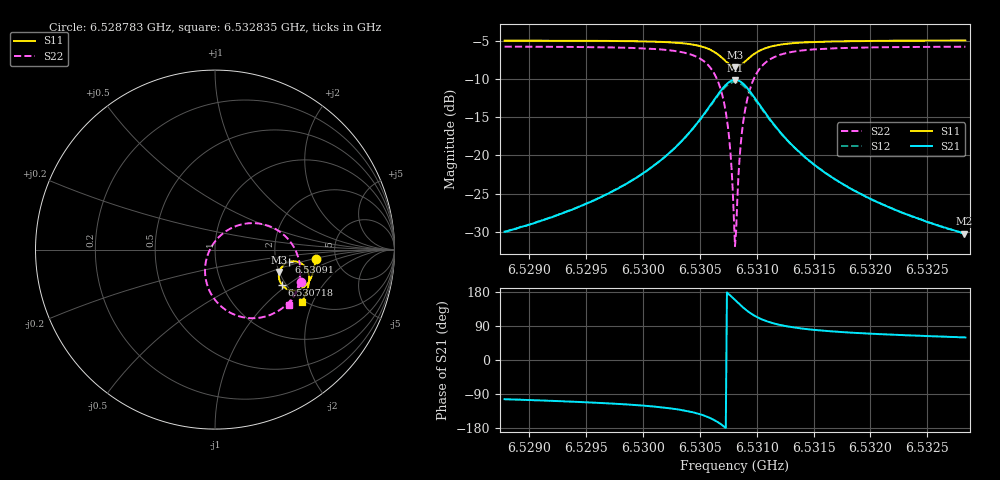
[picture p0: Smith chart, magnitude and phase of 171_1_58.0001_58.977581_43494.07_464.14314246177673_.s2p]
#  HZ  S  RI  R  50.00
! Rohde & Schwarz Vector Network Analyzer
! Rohde-Schwarz,ZNB20-2Port,1311601062101988,3.16
! Created: UTC 3/21/2024, 12:57:55 AM
! freq[Hz]  re:S11  im:S11  re:S21  im:S21  re:S12  im:S12  re:S22  im:S22
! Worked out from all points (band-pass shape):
!   401 points, 6.528783 GHz to 6.532835 GHz, reference 50 ohm
!   highest |S21| = -10.12 dB at 6.530809 GHz (marker M1); lowest = -30.2 dB at 6.532825 GHz (marker M2)
!   |S21| within 3 dB of the highest: 6.530607 GHz to 6.531012 GHz (405.3 kHz wide, 0.00621 % of centre)
!   lowest |S11| = -8.4 dB at 6.530809 GHz (marker M3), VSWR 2.22, Z = 100 - j29.1 ohm
!   |S11| at or under -10 dB: nowhere
!   |S22| runs from -31.9 to -5.8 dB; largest |S21 - S12| = 0.013
!   S11 on the Smith chart (normalised r, x): 6.528783 GHz: 3.49, -0.52; 6.530718 GHz: 1.90, -0.90; 6.53091 GHz: 2.37, -0.39; 6.532835 GHz: 1.94, -1.66
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6.5287826e9  0.5604 -0.0511  -0.00741 -0.0309  -0.00806 -0.0305  0.4815 -0.1811
6.5294614e9  0.5513 -0.1083  -0.017 -0.0439  -0.0178 -0.0435  0.4494 -0.244
6.5301402e9  0.524 -0.1771  -0.0511 -0.0753  -0.0533 -0.0739  0.3656 -0.333
6.5303732e9  0.4973 -0.2076  -0.0915 -0.0951  -0.0944 -0.092  0.2832 -0.3721
6.5305455e9  0.4533 -0.2275  -0.1607 -0.102  -0.1633 -0.0951  0.1551 -0.3768
6.5306468e9  0.4076 -0.2226  -0.2315 -0.075  -0.2308 -0.0651  0.0365 -0.3182
6.5307177e9  0.3717 -0.1952  -0.2837 -0.0156  -0.2778 -0.00524  -0.0398 -0.2078
6.5307583e9  0.3582 -0.1669  -0.2998 0.0382  -0.2906 0.0467  -0.0557 -0.1156
6.5307988e9  0.3567 -0.1329  -0.295 0.0998  -0.2837 0.1045  -0.0356 -0.0159
6.5308089e9  0.3587 -0.1243  -0.2901 0.1148  -0.2787 0.1184  -0.0243 0.00787
6.530819e9  0.3614 -0.116  -0.2835 0.1293  -0.2721 0.132  -0.0109 0.0302
6.5308292e9  0.3652 -0.1081  -0.2756 0.1429  -0.2643 0.1448  0.00474 0.0511
6.5308494e9  0.3748 -0.0939  -0.2563 0.1677  -0.2456 0.1673  0.041 0.0874
6.5308697e9  0.3868 -0.0823  -0.2335 0.187  -0.224 0.1855  0.0821 0.1151
6.5309102e9  0.4138 -0.0683  -0.184 0.2106  -0.1769 0.2075  0.1682 0.1444
6.5309811e9  0.4577 -0.0673  -0.1074 0.2128  -0.1037 0.2096  0.2968 0.1326
6.5310825e9  0.4962 -0.0892  -0.0414 0.1814  -0.0397 0.1797  0.4029 0.0634
6.5312344e9  0.5189 -0.1252  -0.00165 0.1343  -0.000373 0.1336  0.4607 -0.0336
6.5314877e9  0.5249 -0.1687  0.0155 0.088  0.0166 0.0875  0.4748 -0.1321
6.5321666e9  0.5083 -0.2401  0.0178 0.0422  0.0185 0.042  0.4457 -0.2489
6.5328251e9  0.484 -0.2906  0.0155 0.0267  0.0162 0.0264  0.4114 -0.3078
6.5328353e9  0.4837 -0.2913  0.0156 0.0266  0.016 0.0262  0.4107 -0.3087
